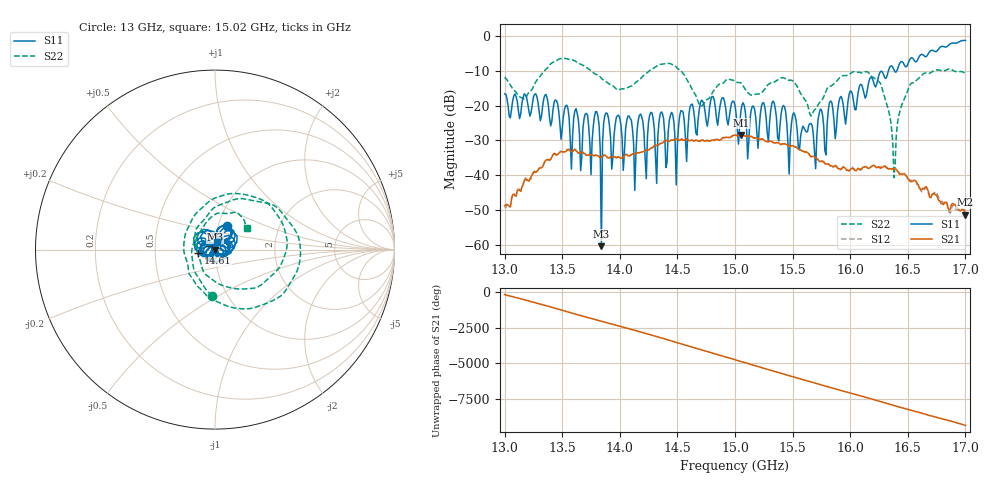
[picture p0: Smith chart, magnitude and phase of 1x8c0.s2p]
!Keysight Technologies,P9374A,MY57211807,A.19.30.04
!Date: Friday, May 08, 2026 15:06:05
!Correction: S11(C  2-Port  )
!S21(C  2-Port  )
!S12(C  2-Port  )
!S22(C  2-Port  )
!S2P File: Measurements: S11, S21, S12, S22:
# Hz S  dB  R 50
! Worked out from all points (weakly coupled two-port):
!   401 points, 13 GHz to 17 GHz, reference 50 ohm
!   highest |S21| = -28.45 dB at 15.05 GHz (marker M1); lowest = -51.3 dB at 17 GHz (marker M2)
!   lowest |S11| = -60.4 dB at 13.84 GHz (marker M3), VSWR 1.00, Z = 49.9 + j0.0499 ohm
!   |S11| at or under -10 dB: start of sweep to 16.33 GHz; 16.3849 GHz to 16.40438 GHz (19.48 MHz wide, 0.119 % of centre)
!   |S22| runs from -40.7 to -6.4 dB; largest |S21 - S12| = 0.0016
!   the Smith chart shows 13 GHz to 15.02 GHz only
!   S11 on the Smith chart (normalised r, x): 13 GHz: 1.11, +0.29; 14.61 GHz: 0.83, -0.03; 15.02 GHz: 1.02, +0.09
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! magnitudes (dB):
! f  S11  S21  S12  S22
! 13 GHz  -16.6  -48.8  -49.2  -11.8
! 13.17 GHz  -16.6  -41.7  -41.4  -18.1
! 13.62 GHz  -20.9  -32.9  -33.0  -7.3
! 13.67 GHz  -34.8  -33.4  -33.5  -8.2
! 13.8 GHz  -21.7  -34.3  -34.3  -11.1
! 13.84 GHz  -60.4  -34.8  -34.8  -12.1
! 13.88 GHz  -22.1  -34.5  -34.6  -13.0
! 13.93 GHz  -38.3  -34.7  -34.7  -14.1
! 13.98 GHz  -22.9  -34.9  -34.7  -15.4
! 14.13 GHz  -44.4  -33.8  -33.8  -13.6
! 14.18 GHz  -22.4  -33.4  -33.4  -12.3
! 14.34 GHz  -24.8  -31.2  -31.3  -8.3
! 14.61 GHz  -20.3  -30.1  -30.1  -14.1
! 15 GHz  -19.9  -28.5  -28.5  -13.0
! 15.02 GHz  -26.8  -28.7  -28.7  -13.4
! 15.05 GHz  -21.8  -28.4  -28.5  -13.4
! 15.67 GHz  -25.7  -34.6  -34.7  -22.6
! 16.14 GHz  -17.1  -37.6  -37.6  -10.2
! 16.34 GHz  -9.2  -38.1  -37.9  -22.4
! 16.38 GHz  -9.7  -38.2  -38.3  -40.7
! 16.53 GHz  -6.2  -41.9  -41.4  -13.6
! 17 GHz  -1.3  -51.3  -50.2  -10.8
